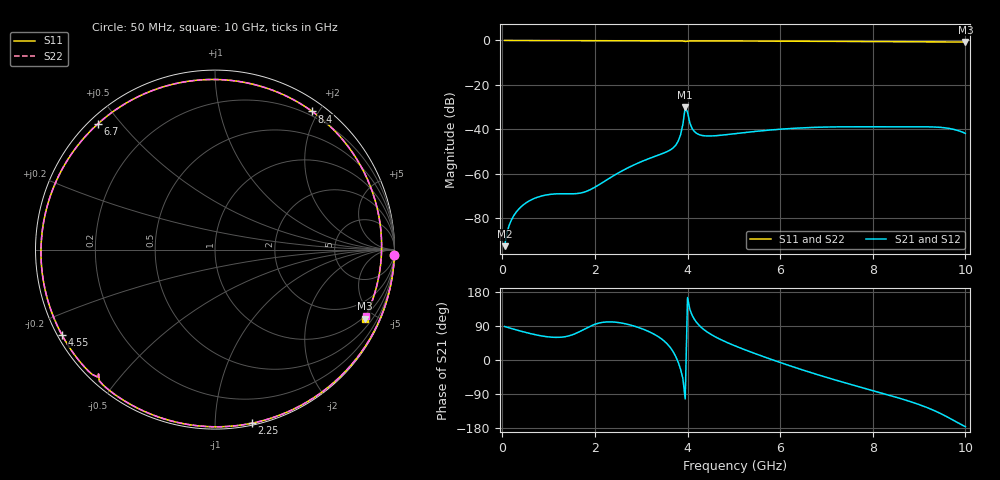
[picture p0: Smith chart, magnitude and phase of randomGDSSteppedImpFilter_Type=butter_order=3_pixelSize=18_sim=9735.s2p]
! freq	dB(S11)	phase(S11)	dB(S12)	phase(S12)
!  dB(S21)	phase(S21)	dB(S22)	phase(S22)
!S-par simulation data
#  GHz  S  DB  R 50
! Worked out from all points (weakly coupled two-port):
!   200 points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, 50 MHz to 10 GHz, reference 50 ohm
!   highest |S21| = -30.14 dB at 3.95 GHz (marker M1); lowest = -92.7 dB at 50 MHz (marker M2)
!   lowest |S11| = -0.7 dB at 10 GHz (marker M3), VSWR 23.64, Z = 44.6 - j220 ohm
!   |S11| at or under -10 dB: nowhere
!   |S22| runs from -0.7 to 0.0 dB; largest |S21 - S12| = 0
!   S11 on the Smith chart (normalised r, x): 50 MHz: 0, -63; 2.25 GHz: 0.01, -1.24; 4.55 GHz: 0.01, -0.26; 6.7 GHz: 0.03, +0.43; 8.4 GHz: 0.14, +1.92; 10 GHz: 0.89, -4.40
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0.05  -0.00 -1.8  -92.66 88.4  -92.66 88.4  -0.00 -1.8
0.2  -0.01 -7.2  -80.72 82.9  -80.72 82.9  -0.01 -7.2
0.45  -0.02 -16.1  -74.12 74.5  -74.12 74.5  -0.02 -16.1
0.8  -0.03 -28.5  -70.33 64.6  -70.33 64.6  -0.03 -28.5
1.75  -0.08 -61.3  -68.42 80.0  -68.42 80.0  -0.08 -61.3
2.25  -0.10 -78.0  -62.87 100.3  -62.87 100.3  -0.10 -78.0
3.4  -0.15 -115.0  -51.40 59.0  -51.40 59.0  -0.15 -114.9
3.65  -0.16 -122.9  -49.02 29.3  -49.02 29.3  -0.16 -122.8
3.8  -0.17 -127.8  -45.27 -6.5  -45.27 -6.5  -0.17 -127.7
3.9  -0.22 -131.4  -37.76 -49.1  -37.76 -49.1  -0.22 -131.3
3.95  -0.45 -133.2  -30.14 -102.8  -30.14 -102.8  -0.45 -133.1
4.05  -0.21 -134.6  -37.17 133.6  -37.17 133.6  -0.21 -134.5
4.15  -0.19 -138.1  -41.07 106.9  -41.07 106.9  -0.19 -138.0
4.55  -0.21 -151.0  -42.98 64.5  -42.98 64.5  -0.21 -150.9
5.05  -0.24 -167.2  -41.93 36.1  -41.93 36.1  -0.24 -167.1
5.9  -0.31 163.6  -40.14 -2.3  -40.14 -2.3  -0.31 163.8
6.7  -0.38 133.0  -39.18 -34.6  -39.18 -34.6  -0.38 133.4
7.6  -0.46 93.8  -38.89 -67.0  -38.89 -67.0  -0.46 94.4
8.35  -0.52 57.4  -38.93 -92.8  -38.93 -92.8  -0.52 58.1
8.4  -0.53 54.9  -38.93 -94.5  -38.93 -94.5  -0.52 55.6
9.2  -0.61 14.2  -38.92 -126.9  -38.92 -126.9  -0.61 15.1
10  -0.74 -24.7  -41.84 -176.0  -41.84 -176.0  -0.74 -23.9
